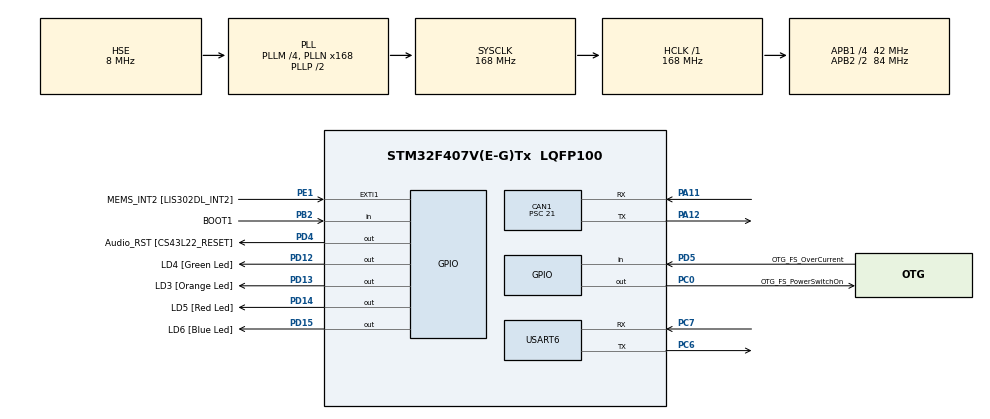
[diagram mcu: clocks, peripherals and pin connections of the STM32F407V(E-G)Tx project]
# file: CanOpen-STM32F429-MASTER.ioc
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CAN1.BS1=CAN_BS1_14TQ
CAN1.BS2=CAN_BS2_5TQ
CAN1.CalculateBaudRate=100000
CAN1.CalculateTimeBit=10000
CAN1.CalculateTimeQuantum=500.0
CAN1.Mode=CAN_MODE_NORMAL
CAN1.Prescaler=21
Mcu.Family=STM32F4
Mcu.Name=STM32F407V(E-G)Tx
Mcu.Package=LQFP100
NVIC.CAN1_RX0_IRQn=true\:0\:0\:false\:false\:true\:true\:true\:true
NVIC.CAN1_RX1_IRQn=true\:0\:0\:false\:false\:true\:true\:true\:true
NVIC.CAN1_SCE_IRQn=true\:0\:0\:false\:false\:true\:true\:true\:true
NVIC.CAN1_TX_IRQn=true\:0\:0\:false\:false\:true\:true\:true\:true
NVIC.PriorityGroup=NVIC_PRIORITYGROUP_0
NVIC.TIM8_TRG_COM_TIM14_IRQn=true\:0\:0\:false\:false\:true\:true\:true\:true
NVIC.USART6_IRQn=true\:0\:0\:false\:false\:true\:true\:true\:true
PA10.GPIO_Label=OTG_FS_ID
PA10.GPIO_Mode=GPIO_MODE_AF_PP
PA10.GPIO_PuPd=GPIO_NOPULL
PA10.GPIO_Speed=GPIO_SPEED_FREQ_LOW
PA10.Signal=USB_OTG_FS_ID
PA11.Mode=CAN_Activate
PA11.Signal=CAN1_RX
PA12.Mode=CAN_Activate
PA12.Signal=CAN1_TX
PA13.GPIO_Label=SWDIO
PA13.Mode=Serial_Wire
PA13.Signal=SYS_JTMS-SWDIO
PA14.GPIO_Label=SWCLK
PA14.Mode=Serial_Wire
PA14.Signal=SYS_JTCK-SWCLK
PA4.GPIO_Label=I2S3_WS [CS43L22_LRCK]
PA4.GPIO_Mode=GPIO_MODE_AF_PP
PA4.GPIO_PuPd=GPIO_NOPULL
PA4.GPIO_Speed=GPIO_SPEED_FREQ_LOW
PA4.Signal=I2S3_WS
PA5.GPIO_Label=SPI1_SCK [LIS302DL_SCL/SPC]
PA5.GPIO_Mode=GPIO_MODE_AF_PP
PA5.GPIO_PuPd=GPIO_NOPULL
PA5.GPIO_Speed=GPIO_SPEED_FREQ_LOW
PA5.Signal=SPI1_SCK
PA6.GPIO_Label=SPI1_MISO [LIS302DL_SDO]
PA6.GPIO_Mode=GPIO_MODE_AF_PP
PA6.GPIO_PuPd=GPIO_NOPULL
PA6.GPIO_Speed=GPIO_SPEED_FREQ_LOW
PA6.Signal=SPI1_MISO
PA7.GPIO_Label=SPI1_MOSI [LIS302DL_SDA/SDI/SDO]
PA7.GPIO_Mode=GPIO_MODE_AF_PP
PA7.GPIO_PuPd=GPIO_NOPULL
PA7.GPIO_Speed=GPIO_SPEED_FREQ_LOW
PA7.Signal=SPI1_MOSI
PA9.GPIO_Label=VBUS_FS
PA9.GPIO_Mode=GPIO_MODE_INPUT
PA9.GPIO_PuPd=GPIO_NOPULL
PA9.Signal=USB_OTG_FS_VBUS
PB10.GPIO_Label=CLK_IN [MP45DT02_CLK]
PB10.GPIO_Mode=GPIO_MODE_AF_PP
PB10.GPIO_PuPd=GPIO_NOPULL
PB10.GPIO_Speed=GPIO_SPEED_FREQ_LOW
PB10.Signal=I2S2_CK
PB2.GPIO_Label=BOOT1
PB2.GPIO_Mode=GPIO_MODE_INPUT
PB2.GPIO_PuPd=GPIO_NOPULL
PB2.Signal=GPIO_Input
PB3.GPIO_Label=SWO
PB3.Signal=SYS_JTDO-SWO
PB6.GPIO_Label=Audio_SCL [CS43L22_SCL]
PB6.GPIO_Mode=GPIO_MODE_AF_OD
PB6.GPIO_Pu=GPIO_PULLUP
PB6.GPIO_PuPd=GPIO_NOPULL
PB6.GPIO_Speed=GPIO_SPEED_FREQ_LOW
PB6.Signal=I2C1_SCL
PB9.GPIO_Label=Audio_SDA [CS43L22_SDA]
PB9.GPIO_Mode=GPIO_MODE_AF_OD
PB9.GPIO_Pu=GPIO_PULLUP
PB9.GPIO_PuPd=GPIO_NOPULL
PB9.GPIO_Speed=GPIO_SPEED_FREQ_LOW
PB9.Signal=I2C1_SDA
PC0.GPIO_Label=OTG_FS_PowerSwitchOn
PC0.GPIO_PuPd=GPIO_NOPULL
PC0.GPIO_Speed=GPIO_SPEED_FREQ_LOW
PC0.PinState=GPIO_PIN_SET
PC0.Signal=GPIO_Output
PC10.GPIO_Label=I2S3_SCK [CS43L22_SCLK]
PC10.GPIO_Mode=GPIO_MODE_AF_PP
PC10.GPIO_PuPd=GPIO_NOPULL
PC10.GPIO_Speed=GPIO_SPEED_FREQ_LOW
PC10.Signal=I2S3_CK
PC12.GPIO_Label=I2S3_SD [CS43L22_SDIN]
PC12.GPIO_Mode=GPIO_MODE_AF_PP
PC12.GPIO_PuPd=GPIO_NOPULL
PC12.GPIO_Speed=GPIO_SPEED_FREQ_LOW
PC12.Signal=I2S3_SD
PC14-OSC32_IN.GPIO_Label=PC14-OSC32_IN
PC14-OSC32_IN.Mode=LSE-External-Oscillator
PC14-OSC32_IN.Signal=RCC_OSC32_IN
PC15-OSC32_OUT.GPIO_Label=PC15-OSC32_OUT
PC15-OSC32_OUT.Mode=LSE-External-Oscillator
PC15-OSC32_OUT.Signal=RCC_OSC32_OUT
PC3.GPIO_Label=PDM_OUT [MP45DT02_DOUT]
PC3.GPIO_Mode=GPIO_MODE_AF_PP
PC3.GPIO_PuPd=GPIO_NOPULL
PC3.GPIO_Speed=GPIO_SPEED_FREQ_LOW
PC3.Signal=I2S2_SD
PC6.Mode=Asynchronous
PC6.Signal=USART6_TX
PC7.Mode=Asynchronous
PC7.Signal=USART6_RX
PD12.GPIO_Label=LD4 [Green Led]
PD12.GPIO_PuPd=GPIO_NOPULL
PD12.GPIO_Speed=GPIO_SPEED_FREQ_LOW
PD12.Signal=GPIO_Output
PD13.GPIO_Label=LD3 [Orange Led]
PD13.GPIO_PuPd=GPIO_NOPULL
PD13.GPIO_Speed=GPIO_SPEED_FREQ_LOW
PD13.Signal=GPIO_Output
PD14.GPIO_Label=LD5 [Red Led]
PD14.GPIO_PuPd=GPIO_NOPULL
PD14.GPIO_Speed=GPIO_SPEED_FREQ_LOW
PD14.Signal=GPIO_Output
PD15.GPIO_Label=LD6 [Blue Led]
PD15.GPIO_PuPd=GPIO_NOPULL
PD15.GPIO_Speed=GPIO_SPEED_FREQ_LOW
PD15.Signal=GPIO_Output
PD4.GPIO_Label=Audio_RST [CS43L22_RESET]
PD4.GPIO_PuPd=GPIO_NOPULL
PD4.GPIO_Speed=GPIO_SPEED_FREQ_LOW
PD4.Signal=GPIO_Output
PD5.GPIO_Label=OTG_FS_OverCurrent
PD5.GPIO_Mode=GPIO_MODE_INPUT
PD5.GPIO_PuPd=GPIO_NOPULL
PD5.Signal=GPIO_Input
PE1.GPIO_Label=MEMS_INT2 [LIS302DL_INT2]
PE1.GPIO_ModeDefaultEXTI=GPIO_MODE_EVT_RISING
PE1.GPIO_PuPd=GPIO_NOPULL
PE1.Signal=GPXTI1
PH0-OSC_IN.GPIO_Label=PH0-OSC_IN
PH0-OSC_IN.Mode=HSE-External-Oscillator
PH0-OSC_IN.Signal=RCC_OSC_IN
PH1-OSC_OUT.GPIO_Label=PH1-OSC_OUT
PH1-OSC_OUT.Mode=HSE-External-Oscillator
PH1-OSC_OUT.Signal=RCC_OSC_OUT
ProjectManager.HeapSize=0x200
ProjectManager.StackSize=0x400
ProjectManager.TargetToolchain=STM32CubeIDE
RCC.48MHZClocksFreq_Value=48000000
RCC.AHBFreq_Value=168000000
RCC.APB1CLKDivider=RCC_HCLK_DIV4
RCC.APB1Freq_Value=42000000
RCC.APB1TimFreq_Value=84000000
RCC.APB2CLKDivider=RCC_HCLK_DIV2
RCC.APB2Freq_Value=84000000
RCC.APB2TimFreq_Value=168000000
RCC.CortexFreq_Value=168000000
RCC.HCLKFreq_Value=168000000
RCC.HSE_VALUE=8000000
RCC.HSI_VALUE=16000000
RCC.PLLI2SN=50
RCC.PLLM=4
RCC.PLLN=168
RCC.PLLQ=7
RCC.PLLSourceVirtual=RCC_PLLSOURCE_HSE
RCC.SYSCLKFreq_VALUE=168000000
RCC.SYSCLKSource=RCC_SYSCLKSOURCE_PLLCLK
RCC.VCOOutputFreq_Value=336000000
RTC.Format=RTC_FORMAT_BIN
TIM14.Period=1000
TIM14.Prescaler=83
USART6.VirtualMode=VM_ASYNC
VP_RTC_VS_RTC_Activate.Mode=RTC_Enabled
VP_RTC_VS_RTC_Calendar.Mode=RTC_Calendar
VP_TIM14_VS_ClockSourceINT.Mode=Enable_Timer
board=STM32F407G-DISC1

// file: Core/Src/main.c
/* USER CODE BEGIN Header */
/**
 ******************************************************************************
 * @file           : main.c
 * @brief          : Main program body
 ******************************************************************************
 * @attention
 *
 * Copyright (c) 2022 STMicroelectronics.
 * All rights reserved.
 *
 * This software is licensed under terms that can be found in the LICENSE file
 * in the root directory of this software component.
 * If no LICENSE file comes with this software, it is provided AS-IS.
 *
 ******************************************************************************
 */
/* USER CODE END Header */
#include "main.h"

/* USER CODE BEGIN Includes */
#include <stdio.h>
#include "CO_app_STM32.h"
#include "CANopen.h"
#include "OD.h"
/* USER CODE END Includes */

/* USER CODE BEGIN PD */
#define UART_NODE
#define log_printf(macropar_message, ...) printf(macropar_message, ##__VA_ARGS__)

#define CANOPEN_ID 1
/* USER CODE END PD */

CAN_HandleTypeDef hcan1;

RTC_HandleTypeDef hrtc;

TIM_HandleTypeDef htim14;

UART_HandleTypeDef huart6;

void SystemClock_Config(void);
static void MX_GPIO_Init(void);
static void MX_TIM14_Init(void);
static void MX_CAN1_Init(void);
static void MX_USART6_UART_Init(void);
static void MX_RTC_Init(void);

/* USER CODE BEGIN 0 */

CO_SDO_abortCode_t
read_SDO(CO_SDOclient_t* SDO_C, uint8_t nodeId, uint16_t index, uint8_t subIndex, uint8_t* buf, size_t bufSize,
		size_t* readSize) {
	CO_SDO_return_t SDO_ret;

	// setup client (this can be skipped, if remote device don't change)
	SDO_ret = CO_SDOclient_setup(SDO_C, CO_CAN_ID_SDO_CLI + nodeId, CO_CAN_ID_SDO_SRV + nodeId, nodeId);
	if (SDO_ret != CO_SDO_RT_ok_communicationEnd) {
		return CO_SDO_AB_GENERAL;
	}

	// initiate upload
	SDO_ret = CO_SDOclientUploadInitiate(SDO_C, index, subIndex, 1000, false);
	if (SDO_ret != CO_SDO_RT_ok_communicationEnd) {
		return CO_SDO_AB_GENERAL;
	}

	// upload data
	do {
		uint32_t timeDifference_us = 10000;
		CO_SDO_abortCode_t abortCode = CO_SDO_AB_NONE;

		SDO_ret = CO_SDOclientUpload(SDO_C, timeDifference_us, false, &abortCode, NULL, NULL, NULL);
		if (SDO_ret < 0) {
			return abortCode;
		}

		HAL_Delay(1);
	} while (SDO_ret > 0);

	// copy data to the user buffer (for long data function must be called several times inside the loop)
	*readSize = CO_SDOclientUploadBufRead(SDO_C, buf, bufSize);

	return CO_SDO_AB_NONE;
}

CO_SDO_abortCode_t
write_SDO(CO_SDOclient_t* SDO_C, uint8_t nodeId, uint16_t index, uint8_t subIndex, uint8_t* data, size_t dataSize) {
	CO_SDO_return_t SDO_ret;
	bool_t bufferPartial = false;

	// setup client (this can be skipped, if remote device is the same)
	SDO_ret = CO_SDOclient_setup(SDO_C, CO_CAN_ID_SDO_CLI + nodeId, CO_CAN_ID_SDO_SRV + nodeId, nodeId);
	if (SDO_ret != CO_SDO_RT_ok_communicationEnd) {
		return -1;
	}

	// initiate download
	SDO_ret = CO_SDOclientDownloadInitiate(SDO_C, index, subIndex, dataSize, 1000, false);
	if (SDO_ret != CO_SDO_RT_ok_communicationEnd) {
		return -1;
	}

	// fill data
	size_t nWritten = CO_SDOclientDownloadBufWrite(SDO_C, data, dataSize);
	if (nWritten < dataSize) {
		bufferPartial = true;
		// If SDO Fifo buffer is too small, data can be refilled in the loop.
	}

	// download data
	do {
		uint32_t timeDifference_us = 10000;
		CO_SDO_abortCode_t abortCode = CO_SDO_AB_NONE;

		SDO_ret = CO_SDOclientDownload(SDO_C, timeDifference_us, false, bufferPartial, &abortCode, NULL, NULL);
		if (SDO_ret < 0) {
			return abortCode;
		}

		HAL_Delay(1);
	} while (SDO_ret > 0);

	return CO_SDO_AB_NONE;
}

/* Timer interrupt function executes every 1 ms */
void
HAL_TIM_PeriodElapsedCallback(TIM_HandleTypeDef* htim) {
	if (htim == canopenNodeSTM32->timerHandle) {
		canopen_app_interrupt();
	}
}
/* USER CODE END 0 */

int main(void)
{

  /* MCU Configuration--------------------------------------------------------*/

  /* Reset of all peripherals, Initializes the Flash interface and the Systick. */
  HAL_Init();

  /* Configure the system clock */
  SystemClock_Config();

  /* Initialize all configured peripherals */
  MX_GPIO_Init();
  MX_TIM14_Init();
  MX_CAN1_Init();
  MX_USART6_UART_Init();
  MX_RTC_Init();
  /* USER CODE BEGIN 2 */
	CANopenNodeSTM32 canOpenNodeSTM32;
	canOpenNodeSTM32.CANHandle = &hcan1;
	canOpenNodeSTM32.HWInitFunction = MX_CAN1_Init;
	canOpenNodeSTM32.timerHandle = &htim14;
	canOpenNodeSTM32.desiredNodeID = CANOPEN_ID;
	canOpenNodeSTM32.baudrate = 100;
	canopen_app_init(&canOpenNodeSTM32);
	uint16_t HB_TIME = 5000;
	uint16_t HB_VALUE = 0;
	size_t bytesRead = 0;

	write_SDO(canOpenNodeSTM32.canOpenStack->SDOclient, 2, 0x1017, 0x00, (uint8_t*)&HB_TIME, sizeof(HB_TIME));
	log_printf("HB_TIME: %d\r\n", HB_TIME);
	read_SDO(canOpenNodeSTM32.canOpenStack->SDOclient, 2, 0x1017, 0x00, (uint8_t*)&HB_VALUE, sizeof(HB_VALUE), &bytesRead);
	log_printf("HB_VALUE: %d\r\n", HB_VALUE);
	log_printf("BYTES_READ: %d\r\n", bytesRead);
	uint32_t elapsed = 0;
	uint32_t lastTick = HAL_GetTick();
	int i = 0;
  /* USER CODE END 2 */

  /* Infinite loop */
  /* USER CODE BEGIN WHILE */
	while (1)
	{
		   uint32_t now = HAL_GetTick();
		    uint32_t dt = now - lastTick;
		    lastTick = now;
		    elapsed += dt;
		if(elapsed == 10000) {
			HB_TIME = 1000;
			write_SDO(canOpenNodeSTM32.canOpenStack->SDOclient, 2, 0x1017, 0x00, (uint8_t*)&HB_TIME, sizeof(HB_TIME));
			log_printf("HB_TIME: %d\r\n", HB_TIME);
			read_SDO(canOpenNodeSTM32.canOpenStack->SDOclient, 2, 0x1017, 0x00, (uint8_t*)&HB_VALUE, sizeof(HB_VALUE), &bytesRead);
			log_printf("HB_VALUE: %d\r\n", HB_VALUE);
			log_printf("BYTES_READ: %d\r\n", bytesRead);
		}
		HAL_GPIO_WritePin(GPIOG, GPIO_PIN_13, canOpenNodeSTM32.outStatusLEDGreen);
		HAL_GPIO_WritePin(GPIOG, GPIO_PIN_14, canOpenNodeSTM32.outStatusLEDRed);
		canopen_app_process();

		//OD_PERSIST_COMM.x6000_counter++;
		OD_set_u32(OD_find(OD, 0x6000), 0x00, i++, false);
		//if(OD_PERSIST_COMM.x6000_counter != old_counter)
		//CO_TPDOsendRequest(&canopenNodeSTM32->canOpenStack->TPDO[0]);
		HAL_Delay(10);
    /* USER CODE END WHILE */

	}
}

void SystemClock_Config(void)
{
  RCC_OscInitTypeDef RCC_OscInitStruct = {0};
  RCC_ClkInitTypeDef RCC_ClkInitStruct = {0};

  /** Configure the main internal regulator output voltage
  */
  __HAL_RCC_PWR_CLK_ENABLE();
  __HAL_PWR_VOLTAGESCALING_CONFIG(PWR_REGULATOR_VOLTAGE_SCALE1);

  /** Initializes the RCC Oscillators according to the specified parameters
  * in the RCC_OscInitTypeDef structure.
  */
  RCC_OscInitStruct.OscillatorType = RCC_OSCILLATORTYPE_LSI|RCC_OSCILLATORTYPE_HSE;
  RCC_OscInitStruct.HSEState = RCC_HSE_ON;
  RCC_OscInitStruct.LSIState = RCC_LSI_ON;
  RCC_OscInitStruct.PLL.PLLState = RCC_PLL_ON;
  RCC_OscInitStruct.PLL.PLLSource = RCC_PLLSOURCE_HSE;
  RCC_OscInitStruct.PLL.PLLM = 4;
  RCC_OscInitStruct.PLL.PLLN = 168;
  RCC_OscInitStruct.PLL.PLLP = RCC_PLLP_DIV2;
  RCC_OscInitStruct.PLL.PLLQ = 7;
  if (HAL_RCC_OscConfig(&RCC_OscInitStruct) != HAL_OK)
  {
    Error_Handler();
  }

  /** Initializes the CPU, AHB and APB buses clocks
  */
  RCC_ClkInitStruct.ClockType = RCC_CLOCKTYPE_HCLK|RCC_CLOCKTYPE_SYSCLK
                              |RCC_CLOCKTYPE_PCLK1|RCC_CLOCKTYPE_PCLK2;
  RCC_ClkInitStruct.SYSCLKSource = RCC_SYSCLKSOURCE_PLLCLK;
  RCC_ClkInitStruct.AHBCLKDivider = RCC_SYSCLK_DIV1;
  RCC_ClkInitStruct.APB1CLKDivider = RCC_HCLK_DIV4;
  RCC_ClkInitStruct.APB2CLKDivider = RCC_HCLK_DIV2;

  if (HAL_RCC_ClockConfig(&RCC_ClkInitStruct, FLASH_LATENCY_5) != HAL_OK)
  {
    Error_Handler();
  }
}

static void MX_CAN1_Init(void)
{

  hcan1.Instance = CAN1;
  hcan1.Init.Prescaler = 21;
  hcan1.Init.Mode = CAN_MODE_NORMAL;
  hcan1.Init.SyncJumpWidth = CAN_SJW_1TQ;
  hcan1.Init.TimeSeg1 = CAN_BS1_14TQ;
  hcan1.Init.TimeSeg2 = CAN_BS2_5TQ;
  hcan1.Init.TimeTriggeredMode = DISABLE;
  hcan1.Init.AutoBusOff = DISABLE;
  hcan1.Init.AutoWakeUp = DISABLE;
  hcan1.Init.AutoRetransmission = DISABLE;
  hcan1.Init.ReceiveFifoLocked = DISABLE;
  hcan1.Init.TransmitFifoPriority = DISABLE;
  if (HAL_CAN_Init(&hcan1) != HAL_OK)
  {
    Error_Handler();
  }
  /* USER CODE BEGIN CAN1_Init 2 */
	//  CAN_FilterTypeDef sFilterConfig;
	//   sFilterConfig.FilterBank = 0;
	//   sFilterConfig.FilterMode = CAN_FILTERMODE_IDMASK;
	//   sFilterConfig.FilterScale = CAN_FILTERSCALE_32BIT;
	//   sFilterConfig.FilterIdHigh = 0x0000;
	//   sFilterConfig.FilterIdLow = 0x0000;
	//   sFilterConfig.FilterMaskIdHigh = 0x0000;
	//   sFilterConfig.FilterMaskIdLow = 0x0000;
	//   sFilterConfig.FilterFIFOAssignment = CAN_FILTER_FIFO0;
	//   sFilterConfig.FilterActivation = ENABLE;
	//   sFilterConfig.SlaveStartFilterBank = 14;
	//   if(HAL_CAN_ConfigFilter(&hcan1, &sFilterConfig) != HAL_OK)
	//   {
	// 	  Error_Handler();
	//   }
  /* USER CODE END CAN1_Init 2 */

}

static void MX_RTC_Init(void)
{

  RTC_TimeTypeDef sTime = {0};
  RTC_DateTypeDef sDate = {0};

  /** Initialize RTC Only
  */
  hrtc.Instance = RTC;
  hrtc.Init.HourFormat = RTC_HOURFORMAT_24;
  hrtc.Init.AsynchPrediv = 127;
  hrtc.Init.SynchPrediv = 255;
  hrtc.Init.OutPut = RTC_OUTPUT_DISABLE;
  hrtc.Init.OutPutPolarity = RTC_OUTPUT_POLARITY_HIGH;
  hrtc.Init.OutPutType = RTC_OUTPUT_TYPE_OPENDRAIN;
  if (HAL_RTC_Init(&hrtc) != HAL_OK)
  {
    Error_Handler();
  }

  /** Initialize RTC and set the Time and Date
  */
  sTime.Hours = 0;
  sTime.Minutes = 0;
  sTime.Seconds = 0;
  sTime.DayLightSaving = RTC_DAYLIGHTSAVING_NONE;
  sTime.StoreOperation = RTC_STOREOPERATION_RESET;
  if (HAL_RTC_SetTime(&hrtc, &sTime, RTC_FORMAT_BIN) != HAL_OK)
  {
    Error_Handler();
  }
  sDate.WeekDay = RTC_WEEKDAY_MONDAY;
  sDate.Month = RTC_MONTH_JANUARY;
  sDate.Date = 1;
  sDate.Year = 0;

  if (HAL_RTC_SetDate(&hrtc, &sDate, RTC_FORMAT_BIN) != HAL_OK)
  {
    Error_Handler();
  }
  /* USER CODE BEGIN RTC_Init 2 */
	/* Parse time string */
	sTime.Hours = ((__TIME__[0] - '0') * 10) + (__TIME__[1] - '0');
	sTime.Minutes = ((__TIME__[3] - '0') * 10) + (__TIME__[4] - '0');
	sTime.Seconds = ((__TIME__[6] - '0') * 10) + (__TIME__[7] - '0');
	/* Parse date string - Month */
	if (__DATE__[0] == 'J' && __DATE__[1] == 'a' && __DATE__[2] == 'n') sDate.Month = RTC_MONTH_JANUARY;
	else if (__DATE__[0] == 'F') sDate.Month = RTC_MONTH_FEBRUARY;
	else if (__DATE__[0] == 'M' && __DATE__[1] == 'a' && __DATE__[2] == 'r') sDate.Month = RTC_MONTH_MARCH;
	else if (__DATE__[0] == 'A' && __DATE__[1] == 'p') sDate.Month = RTC_MONTH_APRIL;
	else if (__DATE__[0] == 'M' && __DATE__[1] == 'a' && __DATE__[2] == 'y') sDate.Month = RTC_MONTH_MAY;
	else if (__DATE__[0] == 'J' && __DATE__[1] == 'u' && __DATE__[2] == 'n') sDate.Month = RTC_MONTH_JUNE;
	else if (__DATE__[0] == 'J' && __DATE__[1] == 'u' && __DATE__[2] == 'l') sDate.Month = RTC_MONTH_JULY;
	else if (__DATE__[0] == 'A' && __DATE__[1] == 'u') sDate.Month = RTC_MONTH_AUGUST;
	else if (__DATE__[0] == 'S') sDate.Month = RTC_MONTH_SEPTEMBER;
	else if (__DATE__[0] == 'O') sDate.Month = RTC_MONTH_OCTOBER;
	else if (__DATE__[0] == 'N') sDate.Month = RTC_MONTH_NOVEMBER;
	else if (__DATE__[0] == 'D') sDate.Month = RTC_MONTH_DECEMBER;
	/* Parse date string - Day */
	if (__DATE__[4] == ' ')
		sDate.Date = __DATE__[5] - '0';
	else
		sDate.Date = ((__DATE__[4] - '0') * 10) + (__DATE__[5] - '0');
	/* Parse date string */
	sDate.Year = ((__DATE__[9] - '0') * 10) + (__DATE__[10] - '0');
	/* Set appropriate weekday */
	sDate.WeekDay = RTC_WEEKDAY_MONDAY; /* Placeholder, can be calculated properly if needed */
	/* Set RTC time */
	if (HAL_RTC_SetTime(&hrtc, &sTime, RTC_FORMAT_BIN) != HAL_OK)
	{
		log_printf("RTC set time failed\r\n");
		Error_Handler();
	}
	/* Set RTC date */
	if (HAL_RTC_SetDate(&hrtc, &sDate, RTC_FORMAT_BIN) != HAL_OK)
	{
		log_printf("RTC set date failed\r\n");
		Error_Handler();
	}
	log_printf("RTC initialized with build time: %s %s\r\n", __DATE__, __TIME__);
  /* USER CODE END RTC_Init 2 */

}

static void MX_TIM14_Init(void)
{

  htim14.Instance = TIM14;
  htim14.Init.Prescaler = 83;
  htim14.Init.CounterMode = TIM_COUNTERMODE_UP;
  htim14.Init.Period = 1000;
  htim14.Init.ClockDivision = TIM_CLOCKDIVISION_DIV1;
  htim14.Init.AutoReloadPreload = TIM_AUTORELOAD_PRELOAD_DISABLE;
  if (HAL_TIM_Base_Init(&htim14) != HAL_OK)
  {
    Error_Handler();
  }

}

static void MX_USART6_UART_Init(void)
{

  huart6.Instance = USART6;
  huart6.Init.BaudRate = 115200;
  huart6.Init.WordLength = UART_WORDLENGTH_8B;
  huart6.Init.StopBits = UART_STOPBITS_1;
  huart6.Init.Parity = UART_PARITY_NONE;
  huart6.Init.Mode = UART_MODE_TX_RX;
  huart6.Init.HwFlowCtl = UART_HWCONTROL_NONE;
  huart6.Init.OverSampling = UART_OVERSAMPLING_16;
  if (HAL_UART_Init(&huart6) != HAL_OK)
  {
    Error_Handler();
  }

}

static void MX_GPIO_Init(void)
{
  GPIO_InitTypeDef GPIO_InitStruct = {0};

  /* GPIO Ports Clock Enable */
  __HAL_RCC_GPIOC_CLK_ENABLE();
  __HAL_RCC_GPIOH_CLK_ENABLE();
  __HAL_RCC_GPIOA_CLK_ENABLE();
  __HAL_RCC_GPIOB_CLK_ENABLE();
  __HAL_RCC_GPIOD_CLK_ENABLE();
  __HAL_RCC_GPIOE_CLK_ENABLE();

  /*Configure GPIO pin Output Level */
  HAL_GPIO_WritePin(OTG_FS_PowerSwitchOn_GPIO_Port, OTG_FS_PowerSwitchOn_Pin, GPIO_PIN_SET);

  /*Configure GPIO pin Output Level */
  HAL_GPIO_WritePin(GPIOD, LD4_Pin|LD3_Pin|LD5_Pin|LD6_Pin
                          |Audio_RST_Pin, GPIO_PIN_RESET);

  /*Configure GPIO pin : OTG_FS_PowerSwitchOn_Pin */
  GPIO_InitStruct.Pin = OTG_FS_PowerSwitchOn_Pin;
  GPIO_InitStruct.Mode = GPIO_MODE_OUTPUT_PP;
  GPIO_InitStruct.Pull = GPIO_NOPULL;
  GPIO_InitStruct.Speed = GPIO_SPEED_FREQ_LOW;
  HAL_GPIO_Init(OTG_FS_PowerSwitchOn_GPIO_Port, &GPIO_InitStruct);

  /*Configure GPIO pin : PDM_OUT_Pin */
  GPIO_InitStruct.Pin = PDM_OUT_Pin;
  GPIO_InitStruct.Mode = GPIO_MODE_AF_PP;
  GPIO_InitStruct.Pull = GPIO_NOPULL;
  GPIO_InitStruct.Speed = GPIO_SPEED_FREQ_LOW;
  GPIO_InitStruct.Alternate = GPIO_AF5_SPI2;
  HAL_GPIO_Init(PDM_OUT_GPIO_Port, &GPIO_InitStruct);

  /*Configure GPIO pin : I2S3_WS_Pin */
  GPIO_InitStruct.Pin = I2S3_WS_Pin;
  GPIO_InitStruct.Mode = GPIO_MODE_AF_PP;
  GPIO_InitStruct.Pull = GPIO_NOPULL;
  GPIO_InitStruct.Speed = GPIO_SPEED_FREQ_LOW;
  GPIO_InitStruct.Alternate = GPIO_AF6_SPI3;
  HAL_GPIO_Init(I2S3_WS_GPIO_Port, &GPIO_InitStruct);

  /*Configure GPIO pins : SPI1_SCK_Pin SPI1_MISO_Pin SPI1_MOSI_Pin */
  GPIO_InitStruct.Pin = SPI1_SCK_Pin|SPI1_MISO_Pin|SPI1_MOSI_Pin;
  GPIO_InitStruct.Mode = GPIO_MODE_AF_PP;
  GPIO_InitStruct.Pull = GPIO_NOPULL;
  GPIO_InitStruct.Speed = GPIO_SPEED_FREQ_LOW;
  GPIO_InitStruct.Alternate = GPIO_AF5_SPI1;
  HAL_GPIO_Init(GPIOA, &GPIO_InitStruct);

  /*Configure GPIO pin : BOOT1_Pin */
  GPIO_InitStruct.Pin = BOOT1_Pin;
  GPIO_InitStruct.Mode = GPIO_MODE_INPUT;
  GPIO_InitStruct.Pull = GPIO_NOPULL;
  HAL_GPIO_Init(BOOT1_GPIO_Port, &GPIO_InitStruct);

  /*Configure GPIO pin : CLK_IN_Pin */
  GPIO_InitStruct.Pin = CLK_IN_Pin;
  GPIO_InitStruct.Mode = GPIO_MODE_AF_PP;
  GPIO_InitStruct.Pull = GPIO_NOPULL;
  GPIO_InitStruct.Speed = GPIO_SPEED_FREQ_LOW;
  GPIO_InitStruct.Alternate = GPIO_AF5_SPI2;
  HAL_GPIO_Init(CLK_IN_GPIO_Port, &GPIO_InitStruct);

  /*Configure GPIO pins : LD4_Pin LD3_Pin LD5_Pin LD6_Pin
                           Audio_RST_Pin */
  GPIO_InitStruct.Pin = LD4_Pin|LD3_Pin|LD5_Pin|LD6_Pin
                          |Audio_RST_Pin;
  GPIO_InitStruct.Mode = GPIO_MODE_OUTPUT_PP;
  GPIO_InitStruct.Pull = GPIO_NOPULL;
  GPIO_InitStruct.Speed = GPIO_SPEED_FREQ_LOW;
  HAL_GPIO_Init(GPIOD, &GPIO_InitStruct);

  /*Configure GPIO pin : VBUS_FS_Pin */
  GPIO_InitStruct.Pin = VBUS_FS_Pin;
  GPIO_InitStruct.Mode = GPIO_MODE_INPUT;
  GPIO_InitStruct.Pull = GPIO_NOPULL;
  HAL_GPIO_Init(VBUS_FS_GPIO_Port, &GPIO_InitStruct);

  /*Configure GPIO pin : OTG_FS_ID_Pin */
  GPIO_InitStruct.Pin = OTG_FS_ID_Pin;
  GPIO_InitStruct.Mode = GPIO_MODE_AF_PP;
  GPIO_InitStruct.Pull = GPIO_NOPULL;
  GPIO_InitStruct.Speed = GPIO_SPEED_FREQ_LOW;
  GPIO_InitStruct.Alternate = GPIO_AF10_OTG_FS;
  HAL_GPIO_Init(OTG_FS_ID_GPIO_Port, &GPIO_InitStruct);

  /*Configure GPIO pins : I2S3_SCK_Pin I2S3_SD_Pin */
  GPIO_InitStruct.Pin = I2S3_SCK_Pin|I2S3_SD_Pin;
  GPIO_InitStruct.Mode = GPIO_MODE_AF_PP;
  GPIO_InitStruct.Pull = GPIO_NOPULL;
  GPIO_InitStruct.Speed = GPIO_SPEED_FREQ_LOW;
  GPIO_InitStruct.Alternate = GPIO_AF6_SPI3;
  HAL_GPIO_Init(GPIOC, &GPIO_InitStruct);

  /*Configure GPIO pin : OTG_FS_OverCurrent_Pin */
  GPIO_InitStruct.Pin = OTG_FS_OverCurrent_Pin;
  GPIO_InitStruct.Mode = GPIO_MODE_INPUT;
  GPIO_InitStruct.Pull = GPIO_NOPULL;
  HAL_GPIO_Init(OTG_FS_OverCurrent_GPIO_Port, &GPIO_InitStruct);

  /*Configure GPIO pins : Audio_SCL_Pin Audio_SDA_Pin */
  GPIO_InitStruct.Pin = Audio_SCL_Pin|Audio_SDA_Pin;
  GPIO_InitStruct.Mode = GPIO_MODE_AF_OD;
  GPIO_InitStruct.Pull = GPIO_PULLUP;
  GPIO_InitStruct.Speed = GPIO_SPEED_FREQ_LOW;
  GPIO_InitStruct.Alternate = GPIO_AF4_I2C1;
  HAL_GPIO_Init(GPIOB, &GPIO_InitStruct);

  /*Configure GPIO pin : MEMS_INT2_Pin */
  GPIO_InitStruct.Pin = MEMS_INT2_Pin;
  GPIO_InitStruct.Mode = GPIO_MODE_EVT_RISING;
  GPIO_InitStruct.Pull = GPIO_NOPULL;
  HAL_GPIO_Init(MEMS_INT2_GPIO_Port, &GPIO_InitStruct);

/* USER CODE BEGIN MX_GPIO_Init_2 */
	GPIO_InitStruct.Pin = GPIO_PIN_13 | GPIO_PIN_14;
	GPIO_InitStruct.Mode = GPIO_MODE_OUTPUT_PP;
	GPIO_InitStruct.Pull = GPIO_NOPULL;
	GPIO_InitStruct.Speed = GPIO_SPEED_FREQ_LOW;
	HAL_GPIO_Init(GPIOG, &GPIO_InitStruct);
/* USER CODE END MX_GPIO_Init_2 */
}

/* USER CODE BEGIN 4 */
__STATIC_INLINE uint32_t My_ITM_SendChar (uint32_t ch)
{
	if (((ITM->TCR & ITM_TCR_ITMENA_Msk) != 0UL) &&      /* ITM enabled */
			((ITM->TER & 1UL               ) != 0UL)   )     /* ITM Port #0 enabled */
	{
		while (ITM->PORT[ITM_CHANNEL].u32 == 0UL)
		{
			__NOP();
		}
		ITM->PORT[ITM_CHANNEL].u8 = (uint8_t)ch;
	}
	return (ch);
}

int _write(int file, char *ptr, int len) {
	int i;
	for(i = 0; i < len; i++) {
		My_ITM_SendChar(*ptr++);
	}
	return len;
}

/* USER CODE END 4 */

void Error_Handler(void)
{
	__disable_irq();
	while (1)
	{
	}
}
